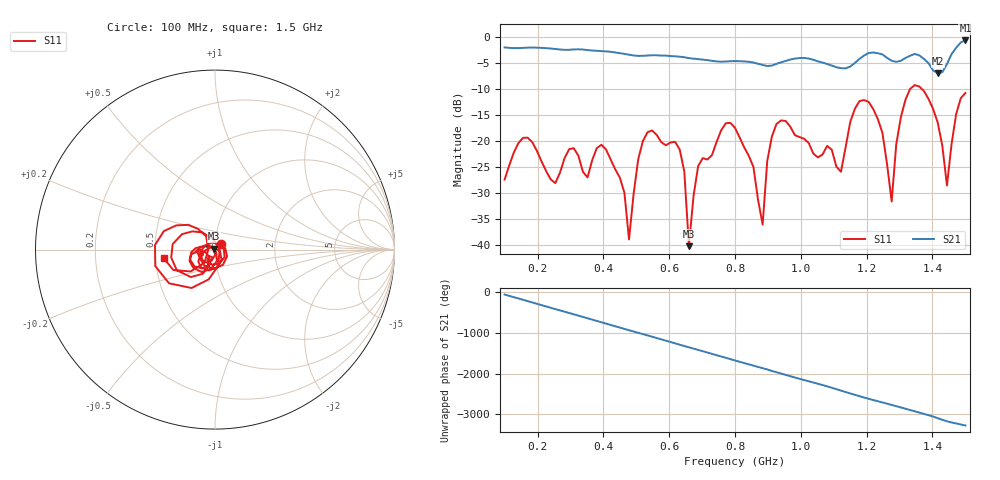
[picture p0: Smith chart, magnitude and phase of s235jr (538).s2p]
! NanoVNA-App
! Date: 2025-09-25 15:08:21
! Start: 100MHz Stop: 1,5GHz Points: 101
! S-Parameter data: F S11 S21 S12 S22
# Hz S RI R 50
!  Frequency  S11_Real  S11_Imag  S21_Real  S21_Imag  S12_Real  S12_Imag  S22_Real  S22_Imag
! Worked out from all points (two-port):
!   101 points, 100 MHz to 1.5 GHz, reference 50 ohm
!   highest |S21| = -0.61 dB at 1.5 GHz (marker M1); lowest = -7.0 dB at 1.416 GHz (marker M2)
!   |S21| within 3 dB of the highest: start of sweep to 601.2 MHz; 1.19 GHz to 1.255 GHz (64.29 MHz wide, 5.26 % of centre) (the widest 2 of 4)
!   lowest |S11| = -40.3 dB at 660 MHz (marker M3), VSWR 1.02, Z = 49.2 + j0.541 ohm
!   |S11| at or under -10 dB: start of sweep to 1.332 GHz; 1.368 GHz to end of sweep
!   S12 and S22 are empty: the file has one direction only
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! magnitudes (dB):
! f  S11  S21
! 100 MHz  -27.5  -2.0
! 156 MHz  -19.4  -2.0
! 338 MHz  -26.0  -2.4
! 408 MHz  -21.6  -2.7
! 478 MHz  -39.0  -3.4
! 520 MHz  -20.1  -3.6
! 576 MHz  -20.2  -3.5
! 632 MHz  -21.7  -3.7
! 660 MHz  -40.3  -4.0
! 688 MHz  -24.9  -4.2
! 800 MHz  -17.5  -4.6
! 884 MHz  -36.1  -5.3
! 898 MHz  -23.9  -5.5
! 926 MHz  -16.7  -5.1
! 1.038 GHz  -22.5  -4.3
! 1.122 GHz  -26.0  -6.0
! 1.206 GHz  -12.5  -3.0
! 1.276 GHz  -31.7  -4.5
! 1.332 GHz  -10.0  -3.6
! 1.416 GHz  -16.5  -7.0
! 1.444 GHz  -28.6  -5.2
! 1.5 GHz  -10.8  -0.6
